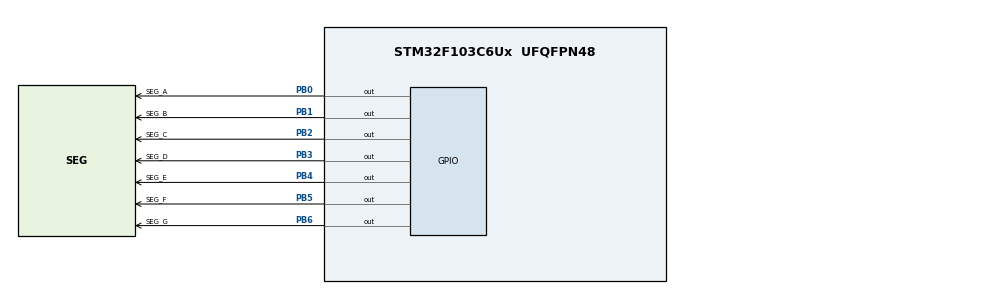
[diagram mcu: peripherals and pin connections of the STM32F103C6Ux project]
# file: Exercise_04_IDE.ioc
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Mcu.Family=STM32F1
Mcu.Name=STM32F103C6Ux
Mcu.Package=UFQFPN48
NVIC.PriorityGroup=NVIC_PRIORITYGROUP_4
PA13.Mode=Serial_Wire
PA13.Signal=SYS_JTMS-SWDIO
PA14.Mode=Serial_Wire
PA14.Signal=SYS_JTCK-SWCLK
PB0.GPIO_Label=SEG_A
PB0.PinState=GPIO_PIN_SET
PB0.Signal=GPIO_Output
PB1.GPIO_Label=SEG_B
PB1.PinState=GPIO_PIN_SET
PB1.Signal=GPIO_Output
PB2.GPIO_Label=SEG_C
PB2.PinState=GPIO_PIN_SET
PB2.Signal=GPIO_Output
PB3.GPIO_Label=SEG_D
PB3.PinState=GPIO_PIN_SET
PB3.Signal=GPIO_Output
PB4.GPIO_Label=SEG_E
PB4.PinState=GPIO_PIN_SET
PB4.Signal=GPIO_Output
PB5.GPIO_Label=SEG_F
PB5.PinState=GPIO_PIN_SET
PB5.Signal=GPIO_Output
PB6.GPIO_Label=SEG_G
PB6.PinState=GPIO_PIN_SET
PB6.Signal=GPIO_Output
ProjectManager.HeapSize=0x200
ProjectManager.StackSize=0x400
ProjectManager.TargetToolchain=STM32CubeIDE
RCC.APB1Freq_Value=8000000
RCC.APB2Freq_Value=8000000
board=custom

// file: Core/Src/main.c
/* USER CODE BEGIN Header */
/**
  ******************************************************************************
  * @file           : main.c
  * @brief          : Main program body
  ******************************************************************************
  * @attention
  *
  * Copyright (c) 2026 STMicroelectronics.
  * All rights reserved.
  *
  * This software is licensed under terms that can be found in the LICENSE file
  * in the root directory of this software component.
  * If no LICENSE file comes with this software, it is provided AS-IS.
  *
  ******************************************************************************
  */
/* USER CODE END Header */
#include "main.h"

void SystemClock_Config(void);
static void MX_GPIO_Init(void);
/* USER CODE BEGIN PFP */
void display7SEG(int num);

/* USER CODE END PFP */

/* USER CODE BEGIN 0 */

void display7SEG(int num)
{
    static const uint16_t digitPattern[10] =
    {
        /* 0: A B C D E F */
        SEG_A_Pin | SEG_B_Pin | SEG_C_Pin |
        SEG_D_Pin | SEG_E_Pin | SEG_F_Pin,

        /* 1: B C */
        SEG_B_Pin | SEG_C_Pin,

        /* 2: A B D E G */
        SEG_A_Pin | SEG_B_Pin | SEG_D_Pin |
        SEG_E_Pin | SEG_G_Pin,

        /* 3: A B C D G */
        SEG_A_Pin | SEG_B_Pin | SEG_C_Pin |
        SEG_D_Pin | SEG_G_Pin,

        /* 4: B C F G */
        SEG_B_Pin | SEG_C_Pin |
        SEG_F_Pin | SEG_G_Pin,

        /* 5: A C D F G */
        SEG_A_Pin | SEG_C_Pin | SEG_D_Pin |
        SEG_F_Pin | SEG_G_Pin,

        /* 6: A C D E F G */
        SEG_A_Pin | SEG_C_Pin | SEG_D_Pin |
        SEG_E_Pin | SEG_F_Pin | SEG_G_Pin,

        /* 7: A B C */
        SEG_A_Pin | SEG_B_Pin | SEG_C_Pin,

        /* 8: A B C D E F G */
        SEG_A_Pin | SEG_B_Pin | SEG_C_Pin |
        SEG_D_Pin | SEG_E_Pin | SEG_F_Pin |
        SEG_G_Pin,

        /* 9: A B C D F G */
        SEG_A_Pin | SEG_B_Pin | SEG_C_Pin |
        SEG_D_Pin | SEG_F_Pin | SEG_G_Pin
    };

    uint16_t allSegments =
        SEG_A_Pin | SEG_B_Pin | SEG_C_Pin |
        SEG_D_Pin | SEG_E_Pin | SEG_F_Pin |
        SEG_G_Pin;

    if (num < 0 || num > 9)
    {
        /* Turn OFF all segments */
        HAL_GPIO_WritePin(GPIOB,
                          allSegments,
                          GPIO_PIN_SET);
        return;
    }

    HAL_GPIO_WritePin(GPIOB,
                      allSegments,
                      GPIO_PIN_SET);

    HAL_GPIO_WritePin(GPIOB,
                      digitPattern[num],
                      GPIO_PIN_RESET);
}

/* USER CODE END 0 */

int main(void)
{

  /* USER CODE BEGIN 1 */
	int counter = 0;

  /* USER CODE END 1 */

  /* MCU Configuration--------------------------------------------------------*/

  /* Reset of all peripherals, Initializes the Flash interface and the Systick. */
  HAL_Init();

  /* Configure the system clock */
  SystemClock_Config();

  /* Initialize all configured peripherals */
  MX_GPIO_Init();

  /* Infinite loop */
  /* USER CODE BEGIN WHILE */
  while (1)
  {
      if (counter >= 10)
      {
          counter = 0;
      }

      display7SEG(counter++);

      HAL_Delay(1000);
    /* USER CODE END WHILE */

  }
}

void SystemClock_Config(void)
{
  RCC_OscInitTypeDef RCC_OscInitStruct = {0};
  RCC_ClkInitTypeDef RCC_ClkInitStruct = {0};

  /** Initializes the RCC Oscillators according to the specified parameters
  * in the RCC_OscInitTypeDef structure.
  */
  RCC_OscInitStruct.OscillatorType = RCC_OSCILLATORTYPE_HSI;
  RCC_OscInitStruct.HSIState = RCC_HSI_ON;
  RCC_OscInitStruct.HSICalibrationValue = RCC_HSICALIBRATION_DEFAULT;
  RCC_OscInitStruct.PLL.PLLState = RCC_PLL_NONE;
  if (HAL_RCC_OscConfig(&RCC_OscInitStruct) != HAL_OK)
  {
    Error_Handler();
  }

  /** Initializes the CPU, AHB and APB buses clocks
  */
  RCC_ClkInitStruct.ClockType = RCC_CLOCKTYPE_HCLK|RCC_CLOCKTYPE_SYSCLK
                              |RCC_CLOCKTYPE_PCLK1|RCC_CLOCKTYPE_PCLK2;
  RCC_ClkInitStruct.SYSCLKSource = RCC_SYSCLKSOURCE_HSI;
  RCC_ClkInitStruct.AHBCLKDivider = RCC_SYSCLK_DIV1;
  RCC_ClkInitStruct.APB1CLKDivider = RCC_HCLK_DIV1;
  RCC_ClkInitStruct.APB2CLKDivider = RCC_HCLK_DIV1;

  if (HAL_RCC_ClockConfig(&RCC_ClkInitStruct, FLASH_LATENCY_0) != HAL_OK)
  {
    Error_Handler();
  }
}

static void MX_GPIO_Init(void)
{
  GPIO_InitTypeDef GPIO_InitStruct = {0};

  /* GPIO Ports Clock Enable */
  __HAL_RCC_GPIOB_CLK_ENABLE();
  __HAL_RCC_GPIOA_CLK_ENABLE();

  /*Configure GPIO pin Output Level */
  HAL_GPIO_WritePin(GPIOB, SEG_A_Pin|SEG_B_Pin|SEG_C_Pin|SEG_D_Pin
                          |SEG_E_Pin|SEG_F_Pin|SEG_G_Pin, GPIO_PIN_SET);

  /*Configure GPIO pins : SEG_A_Pin SEG_B_Pin SEG_C_Pin SEG_D_Pin
                           SEG_E_Pin SEG_F_Pin SEG_G_Pin */
  GPIO_InitStruct.Pin = SEG_A_Pin|SEG_B_Pin|SEG_C_Pin|SEG_D_Pin
                          |SEG_E_Pin|SEG_F_Pin|SEG_G_Pin;
  GPIO_InitStruct.Mode = GPIO_MODE_OUTPUT_PP;
  GPIO_InitStruct.Pull = GPIO_NOPULL;
  GPIO_InitStruct.Speed = GPIO_SPEED_FREQ_LOW;
  HAL_GPIO_Init(GPIOB, &GPIO_InitStruct);

}

void Error_Handler(void)
{
  __disable_irq();
  while (1)
  {
  }
}
